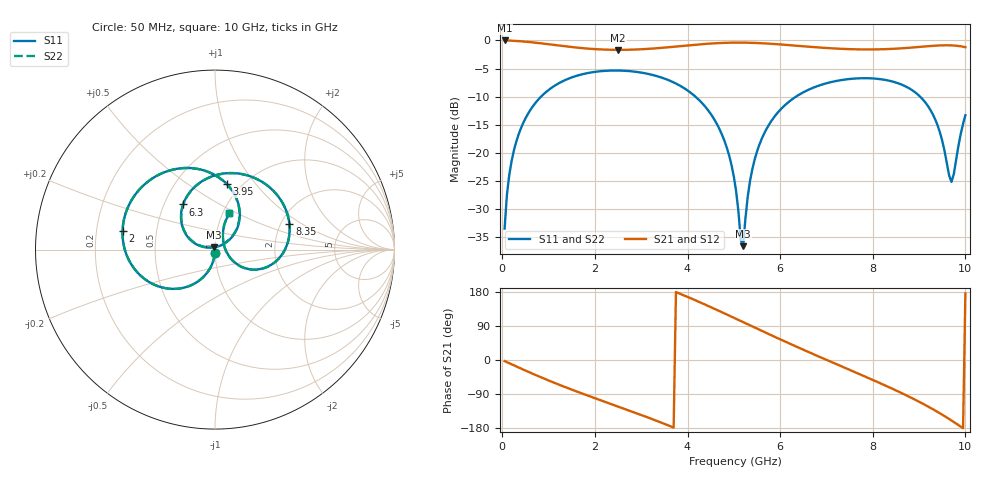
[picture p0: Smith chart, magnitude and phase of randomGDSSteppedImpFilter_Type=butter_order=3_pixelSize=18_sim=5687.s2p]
! freq	dB(S11)	phase(S11)	dB(S12)	phase(S12)
!  dB(S21)	phase(S21)	dB(S22)	phase(S22)
!S-par simulation data
#  GHz  S  DB  R 50
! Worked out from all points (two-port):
!   200 points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, 50 MHz to 10 GHz, reference 50 ohm
!   highest |S21| = 0.00 dB at 50 MHz (marker M1); lowest = -1.7 dB at 2.5 GHz (marker M2)
!   |S21| within 3 dB of the highest: start of sweep to end of sweep
!   lowest |S11| = -36.6 dB at 5.2 GHz (marker M3), VSWR 1.03, Z = 49.2 + j1.22 ohm
!   |S11| at or under -10 dB: start of sweep to 836.5 MHz; 4.171 GHz to 6.341 GHz (2.169 GHz wide, 41.3 % of centre); 9.022 GHz to end of sweep
!   |S22| runs from -35.4 to -5.3 dB; largest |S21 - S12| = 0
!   S11 on the Smith chart (normalised r, x): 50 MHz: 1.00, -0.04; 2 GHz: 0.31, +0.09; 3.95 GHz: 0.86, +0.73; 6.3 GHz: 0.62, +0.35; 8.35 GHz: 2.22, +0.80; 10 GHz: 1.07, +0.45
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0.05  -33.46 -92.9  -0.00 -2.8  -0.00 -2.8  -33.46 -92.9
0.2  -21.48 -101.7  -0.05 -11.3  -0.05 -11.3  -21.48 -101.7
0.5  -13.87 -118.4  -0.22 -27.8  -0.22 -27.8  -13.87 -118.4
1.1  -8.21 -149.5  -0.79 -59.0  -0.79 -59.0  -8.21 -149.5
1.75  -5.97 179.8  -1.39 -89.6  -1.39 -89.6  -5.97 179.9
2  -5.59 168.6  -1.54 -100.8  -1.54 -100.8  -5.59 168.7
2.5  -5.35 146.7  -1.68 -122.8  -1.68 -122.8  -5.35 146.8
3.4  -6.50 106.3  -1.35 -163.6  -1.35 -163.6  -6.50 106.5
3.95  -8.61 79.7  -0.93 169.1  -0.93 169.1  -8.61 80.0
4.65  -15.11 44.4  -0.48 131.3  -0.48 131.3  -15.10 45.1
5.05  -26.86 34.2  -0.39 108.6  -0.39 108.6  -26.73 37.0
5.15  -35.52 64.6  -0.39 102.9  -0.39 102.9  -34.59 69.0
5.2  -36.59 123.1  -0.39 100.0  -0.39 100.0  -35.41 120.1
5.3  -27.76 164.7  -0.40 94.3  -0.40 94.3  -27.58 161.6
5.5  -19.76 164.7  -0.46 82.8  -0.46 82.8  -19.73 163.4
6.3  -10.22 125.2  -0.91 38.0  -0.91 38.0  -10.22 124.8
6.7  -8.45 104.4  -1.17 16.4  -1.17 16.4  -8.45 104.1
7.5  -6.85 63.2  -1.55 -26.0  -1.55 -26.0  -6.85 63.0
8.35  -7.15 19.3  -1.53 -71.7  -1.53 -71.7  -7.15 19.1
9.25  -12.44 -27.8  -0.99 -126.5  -0.99 -126.5  -12.44 -28.1
9.7  -25.15 18.5  -0.88 -159.6  -0.88 -159.6  -25.34 18.5
10  -13.30 68.4  -1.20 175.8  -1.20 175.8  -13.31 68.7
